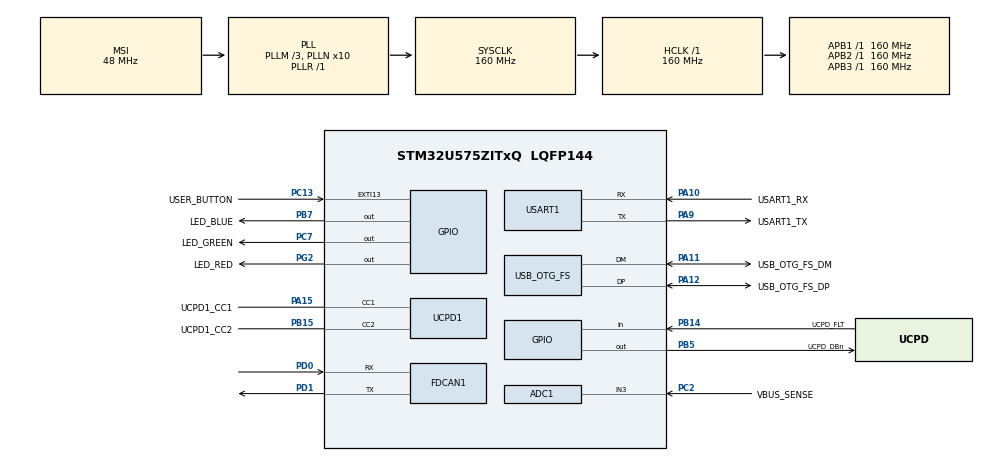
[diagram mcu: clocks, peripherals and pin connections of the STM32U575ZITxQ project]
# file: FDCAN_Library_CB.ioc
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ADC1.NbrOfConversion=1
ADC1.Resolution=ADC_RESOLUTION_14B
ADC1.master=1
CORTEX_M33_NS.userName=CORTEX_M33
FDCAN1.AutoRetransmission=ENABLE
FDCAN1.CalculateBaudRateNominal=500000
FDCAN1.CalculateTimeBitNominal=2000
FDCAN1.CalculateTimeQuantumNominal=100.0
FDCAN1.DataPrescaler=1
FDCAN1.DataSyncJumpWidth=16
FDCAN1.DataTimeSeg1=23
FDCAN1.DataTimeSeg2=16
FDCAN1.ExtFiltersNbr=1
FDCAN1.FrameFormat=FDCAN_FRAME_FD_BRS
FDCAN1.NominalPrescaler=4
FDCAN1.NominalSyncJumpWidth=3
FDCAN1.NominalTimeSeg1=16
FDCAN1.NominalTimeSeg2=3
FDCAN1.StdFiltersNbr=1
Mcu.Family=STM32U5
Mcu.Name=STM32U575ZITxQ
Mcu.Package=LQFP144
NVIC.FDCAN1_IT0_IRQn=true\:0\:0\:false\:false\:true\:true\:true\:true
NVIC.OTG_FS_IRQn=true\:0\:0\:false\:false\:true\:true\:true\:true
NVIC.PriorityGroup=NVIC_PRIORITYGROUP_3
NVIC.TIM7_IRQn=true\:0\:0\:false\:false\:true\:true\:true\:true
PA10.GPIO_Label=USART1_RX
PA10.GPIO_PuPd=GPIO_PULLDOWN
PA10.GPIO_Speed=GPIO_SPEED_FREQ_VERY_HIGH
PA10.Mode=Asynchronous
PA10.Signal=USART1_RX
PA11.GPIO_Label=USB_OTG_FS_DM
PA11.GPIO_Speed=GPIO_SPEED_FREQ_VERY_HIGH
PA11.Mode=Device_Only
PA11.Signal=USB_OTG_FS_DM
PA12.GPIO_Label=USB_OTG_FS_DP
PA12.GPIO_Speed=GPIO_SPEED_FREQ_VERY_HIGH
PA12.Mode=Device_Only
PA12.Signal=USB_OTG_FS_DP
PA13\ (JTMS/SWDIO).Mode=Trace_Asynchronous_SW
PA13\ (JTMS/SWDIO).Signal=DEBUG_JTMS-SWDIO
PA14\ (JTCK/SWCLK).Mode=Trace_Asynchronous_SW
PA14\ (JTCK/SWCLK).Signal=DEBUG_JTCK-SWCLK
PA15\ (JTDI).GPIO_Label=UCPD1_CC1
PA15\ (JTDI).Mode=Sink_AllSignals
PA15\ (JTDI).Signal=UCPD1_CC1
PA9.GPIO_Label=USART1_TX
PA9.GPIO_PuPd=GPIO_PULLDOWN
PA9.GPIO_Speed=GPIO_SPEED_FREQ_VERY_HIGH
PA9.Mode=Asynchronous
PA9.Signal=USART1_TX
PB14.GPIO_Label=UCPD_FLT
PB14.PinAttribute=Free
PB14.Signal=GPIO_Input
PB15.GPIO_Label=UCPD1_CC2
PB15.Mode=Sink_AllSignals
PB15.Signal=UCPD1_CC2
PB3\ (JTDO/TRACESWO).Mode=Trace_Asynchronous_SW
PB3\ (JTDO/TRACESWO).Signal=DEBUG_JTDO-SWO
PB5.GPIO_Label=UCPD_DBn
PB5.Signal=GPIO_Output
PB7.GPIO_Label=LED_BLUE
PB7.GPIO_ModeDefaultOutputPP=GPIO_MODE_OUTPUT_PP
PB7.GPIO_PuPd=GPIO_PULLUP
PB7.GPIO_Speed=GPIO_SPEED_FREQ_HIGH
PB7.Signal=GPIO_Output
PC13.GPIO_Label=USER_BUTTON
PC13.GPIO_ModeDefaultEXTI=GPIO_MODE_IT_FALLING
PC13.PinAttribute=Free
PC13.Signal=GPXTI13
PC14-OSC32_IN\ (PC14).Mode=LSE-External-Oscillator
PC14-OSC32_IN\ (PC14).Signal=RCC_OSC32_IN
PC15-OSC32_OUT\ (PC15).Mode=LSE-External-Oscillator
PC15-OSC32_OUT\ (PC15).Signal=RCC_OSC32_OUT
PC2.GPIO_Label=VBUS_SENSE
PC2.Mode=IN3-Single-Ended
PC2.Signal=ADC1_IN3
PC7.GPIO_Label=LED_GREEN
PC7.GPIO_PuPd=GPIO_PULLUP
PC7.GPIO_Speed=GPIO_SPEED_FREQ_HIGH
PC7.Signal=GPIO_Output
PD0.Mode=FDCAN_Activate
PD0.Signal=FDCAN1_RX
PD1.Mode=FDCAN_Activate
PD1.Signal=FDCAN1_TX
PG2.GPIO_Label=LED_RED
PG2.GPIO_ModeDefaultOutputPP=GPIO_MODE_OUTPUT_PP
PG2.GPIO_PuPd=GPIO_PULLUP
PG2.GPIO_Speed=GPIO_SPEED_FREQ_HIGH
PG2.Signal=GPIO_Output
PWR.PowerMode=PWR_SMPS_SUPPLY
ProjectManager.HeapSize=0x200
ProjectManager.StackSize=0x400
ProjectManager.TargetToolchain=STM32CubeIDE
RCC.ADCFreq_Value=16000000
RCC.AHBFreq_Value=160000000
RCC.APB1Freq_Value=160000000
RCC.APB1TimFreq_Value=160000000
RCC.APB2Freq_Value=160000000
RCC.APB2TimFreq_Value=160000000
RCC.APB3Freq_Value=160000000
RCC.CortexFreq_Value=160000000
RCC.DACCLockSelectionVirtual=RCC_DAC1CLKSOURCE_LSI
RCC.EPOD_VALUE=48000000
RCC.HCLKFreq_Value=160000000
RCC.HSE_VALUE=16000000
RCC.HSI48_VALUE=48000000
RCC.HSI_VALUE=16000000
RCC.LSIDIV_VALUE=32000
RCC.MSIClockRange=RCC_MSIRANGE_0
RCC.MSI_VALUE=48000000
RCC.PLL1Q=4
RCC.PLL1R=1
RCC.PLL2FRACN=0
RCC.PLL3FRACN=0
RCC.PLLFRACN=0
RCC.PLLM=3
RCC.PLLN=10
RCC.SDMMCClockSelection=RCC_SDMMCCLKSOURCE_PLL1
RCC.SYSCLKFreq_VALUE=160000000
RCC.SYSCLKSource=RCC_SYSCLKSOURCE_PLLCLK
RCC.USBFreq_Value=48000000
RCC.VCOOutputFreq_Value=160000000
TIM7.AutoReloadPreload=TIM_AUTORELOAD_PRELOAD_ENABLE
TIM7.PeriodNoDither=49999
TIM7.Prescaler=31999
USART1.VirtualMode-Asynchronous=VM_ASYNC
USB_OTG_FS.VirtualMode=Device_Only
VP_ICACHE_VS_ENABLE_ICACHE_MEMORY.Mode=Memoryregions
VP_ICACHE_VS_ICACHE.Mode=DirectMappedCache
VP_LPBAMQUEUE_VS_QUEUE.Mode=QUEUEMODE
VP_LPBAM_VS_SIG1.Mode=SmartRun
VP_LPBAM_VS_SIG4.Mode=LPDMA1
VP_MEMORYMAP_VS_MEMORYMAP.Mode=CurAppReg
VP_PWR_VS_DBSignals.Mode=DisableDeadBatterySignals
VP_PWR_VS_LPOM.Mode=PowerOptimisation
VP_PWR_VS_SECSignals.Mode=Security/Privilege
VP_PWR_Vdda.Mode=isolationVdda
VP_TIM7_VS_ClockSourceINT.Mode=Enable_Timer
board=NUCLEO-U575ZI-Q

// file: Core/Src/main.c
/* USER CODE BEGIN Header */
/**
  ******************************************************************************
  * @file           : main.c
  * @brief          : Main program body
  ******************************************************************************
  * @attention
  *
  * Copyright (c) 2025 STMicroelectronics.
  * All rights reserved.
  *
  * This software is licensed under terms that can be found in the LICENSE file
  * in the root directory of this software component.
  * If no LICENSE file comes with this software, it is provided AS-IS.
  *
  ******************************************************************************
  */
/* USER CODE END Header */
#include "main.h"

/* USER CODE BEGIN Includes */
#include "can.h"
#include <stdlib.h>
#include <string.h>
#include <stdio.h>
#include <time.h>
/* USER CODE END Includes */

ADC_HandleTypeDef hadc1;

FDCAN_HandleTypeDef hfdcan1;

TIM_HandleTypeDef htim7;

UART_HandleTypeDef huart1;

PCD_HandleTypeDef hpcd_USB_OTG_FS;

void SystemClock_Config(void);
static void SystemPower_Config(void);
static void MX_GPIO_Init(void);
static void MX_ADC1_Init(void);
static void MX_ICACHE_Init(void);
static void MX_UCPD1_Init(void);
static void MX_USART1_UART_Init(void);
static void MX_USB_OTG_FS_PCD_Init(void);
static void MX_FDCAN1_Init(void);
static void MX_TIM7_Init(void);
/* USER CODE BEGIN PFP */
#ifdef __GNUC__
/* With GCC/RAISONANCE, small printf (option LD Linker->Libraries->Small printf
   set to 'Yes') calls __io_putchar() */
#define PUTCHAR_PROTOTYPE int __io_putchar(int ch)
#else
#define PUTCHAR_PROTOTYPE int fputc(int ch, FILE *f)
#endif /* __GNUC__ */
/* USER CODE END PFP */

int main(void)
{

  /* MCU Configuration--------------------------------------------------------*/

  /* Reset of all peripherals, Initializes the Flash interface and the Systick. */
  HAL_Init();

  /* Configure the System Power */
  SystemPower_Config();

  /* Configure the system clock */
  SystemClock_Config();

  /* Initialize all configured peripherals */
  MX_GPIO_Init();
  MX_ADC1_Init();
  MX_ICACHE_Init();
  MX_UCPD1_Init();
  MX_USART1_UART_Init();
  MX_USB_OTG_FS_PCD_Init();
  MX_FDCAN1_Init();
  MX_TIM7_Init();
  /* USER CODE BEGIN 2 */
  CAN_Init(&hfdcan1, 0x130);
  srand(time(NULL));
  int tx_cnt = 0, rx_cnt = 0, hb0_cnt = 0, hb3_cnt = 0;
  uint32_t last_hb0 = 0, last_hb3 = 0;
  /* USER CODE END 2 */

  /* Infinite loop */
  /* USER CODE BEGIN WHILE */
  while (1)
  {

	/* Transmitting board (random delay + data) */
//	uint8_t TxData1[64];
//
//	for (int i = 0; i < 100; i++) {
//		for (uint8_t i = 0; i < 64; i++) {
//			TxData1[i] = (rand() % (255)) + 1;
//		}
//		if (CAN_Transmit(0x111, FDCAN_STANDARD_ID, FDCAN_DLC_BYTES_64, TxData1, &hfdcan1) != HAL_OK) {
//		   HAL_GPIO_WritePin(GPIOB, GPIO_PIN_7, GPIO_PIN_SET);
//		   Error_Handler();
//		}
//		tx_cnt++;
//		HAL_Delay((rand() % (500)) + 1);
//	}
//	if (tx_cnt % 500) printf("Total Tx Messages sent: %d\r\n", tx_cnt);

	/* Receiving */
	CAN_Frame RxData;
	if (CAN_Receive(&RxData) != HAL_OK) continue;

	rx_cnt++;
	uint32_t id  = RxData.RxData1_Identifier;
	uint8_t  len = RxData.RxData1_BufferLength;
	uint8_t localRxbuffer[64];
	for (int i = 0; i < len; i++) {
	    localRxbuffer[i] = RxData.RxData1[i];
	}
	//hb: recive both heartbeats. if the time from prev hb is > 15sec, print
	uint32_t now = HAL_GetTick();
	if (id == 0x130 || id == 0x133) {
		if (id == 0x130) {
			uint32_t diff0 = now - last_hb0;
			last_hb0 = now;
			hb0_cnt++;
			printf("Total hb for ID: 0x%04lX is %d, time_since_last = %lu ms\r\n", id, hb0_cnt, diff0);
			if (diff0 >= 15000) {
				printf("WARNING: No hb from 0x130 for %lu ms\r\n", diff0);
				HAL_GPIO_WritePin(GPIOB, GPIO_PIN_7, GPIO_PIN_SET);
			}
		} else {
			uint32_t diff3 = now - last_hb3;
			last_hb3 = now;
			hb3_cnt++;
			printf("Total hb for ID: 0x%04lX is %d, time_since_last = %lu ms\r\n", id, hb3_cnt, diff3);
			if (diff3 >= 15000) {
				printf("WARNING: No hb from 0x133 for %lu ms\r\n", diff3);
				HAL_GPIO_WritePin(GPIOB, GPIO_PIN_7, GPIO_PIN_SET);
			}
		}
	}
	if (rx_cnt % 500 == 0) printf("Msg #: %d; ID: 0x%04lX; len: %u\r\n", rx_cnt, id, len);

    /* USER CODE END WHILE */

  }
}

void SystemClock_Config(void)
{
  RCC_OscInitTypeDef RCC_OscInitStruct = {0};
  RCC_ClkInitTypeDef RCC_ClkInitStruct = {0};

  /** Configure the main internal regulator output voltage
  */
  if (HAL_PWREx_ControlVoltageScaling(PWR_REGULATOR_VOLTAGE_SCALE1) != HAL_OK)
  {
    Error_Handler();
  }

  /** Initializes the CPU, AHB and APB buses clocks
  */
  RCC_OscInitStruct.OscillatorType = RCC_OSCILLATORTYPE_HSI48|RCC_OSCILLATORTYPE_HSI
                              |RCC_OSCILLATORTYPE_MSI;
  RCC_OscInitStruct.HSIState = RCC_HSI_ON;
  RCC_OscInitStruct.HSI48State = RCC_HSI48_ON;
  RCC_OscInitStruct.HSICalibrationValue = RCC_HSICALIBRATION_DEFAULT;
  RCC_OscInitStruct.MSIState = RCC_MSI_ON;
  RCC_OscInitStruct.MSICalibrationValue = RCC_MSICALIBRATION_DEFAULT;
  RCC_OscInitStruct.MSIClockRange = RCC_MSIRANGE_0;
  RCC_OscInitStruct.PLL.PLLState = RCC_PLL_ON;
  RCC_OscInitStruct.PLL.PLLSource = RCC_PLLSOURCE_MSI;
  RCC_OscInitStruct.PLL.PLLMBOOST = RCC_PLLMBOOST_DIV4;
  RCC_OscInitStruct.PLL.PLLM = 3;
  RCC_OscInitStruct.PLL.PLLN = 10;
  RCC_OscInitStruct.PLL.PLLP = 2;
  RCC_OscInitStruct.PLL.PLLQ = 4;
  RCC_OscInitStruct.PLL.PLLR = 1;
  RCC_OscInitStruct.PLL.PLLRGE = RCC_PLLVCIRANGE_1;
  RCC_OscInitStruct.PLL.PLLFRACN = 0;
  if (HAL_RCC_OscConfig(&RCC_OscInitStruct) != HAL_OK)
  {
    Error_Handler();
  }

  /** Initializes the CPU, AHB and APB buses clocks
  */
  RCC_ClkInitStruct.ClockType = RCC_CLOCKTYPE_HCLK|RCC_CLOCKTYPE_SYSCLK
                              |RCC_CLOCKTYPE_PCLK1|RCC_CLOCKTYPE_PCLK2
                              |RCC_CLOCKTYPE_PCLK3;
  RCC_ClkInitStruct.SYSCLKSource = RCC_SYSCLKSOURCE_PLLCLK;
  RCC_ClkInitStruct.AHBCLKDivider = RCC_SYSCLK_DIV1;
  RCC_ClkInitStruct.APB1CLKDivider = RCC_HCLK_DIV1;
  RCC_ClkInitStruct.APB2CLKDivider = RCC_HCLK_DIV1;
  RCC_ClkInitStruct.APB3CLKDivider = RCC_HCLK_DIV1;

  if (HAL_RCC_ClockConfig(&RCC_ClkInitStruct, FLASH_LATENCY_4) != HAL_OK)
  {
    Error_Handler();
  }
}

/**
  * @brief Power Configuration
  * @retval None
  */
static void SystemPower_Config(void)
{
  HAL_PWREx_EnableVddIO2();

  /*
   * Switch to SMPS regulator instead of LDO
   */
  if (HAL_PWREx_ConfigSupply(PWR_SMPS_SUPPLY) != HAL_OK)
  {
    Error_Handler();
  }
}

static void MX_ADC1_Init(void)
{

  /** Common config
  */
  hadc1.Instance = ADC1;
  hadc1.Init.ClockPrescaler = ADC_CLOCK_ASYNC_DIV1;
  hadc1.Init.Resolution = ADC_RESOLUTION_14B;
  hadc1.Init.GainCompensation = 0;
  hadc1.Init.ScanConvMode = ADC_SCAN_DISABLE;
  hadc1.Init.EOCSelection = ADC_EOC_SINGLE_CONV;
  hadc1.Init.LowPowerAutoWait = DISABLE;
  hadc1.Init.ContinuousConvMode = DISABLE;
  hadc1.Init.NbrOfConversion = 1;
  hadc1.Init.DiscontinuousConvMode = DISABLE;
  hadc1.Init.DMAContinuousRequests = DISABLE;
  hadc1.Init.TriggerFrequencyMode = ADC_TRIGGER_FREQ_HIGH;
  hadc1.Init.Overrun = ADC_OVR_DATA_PRESERVED;
  hadc1.Init.LeftBitShift = ADC_LEFTBITSHIFT_NONE;
  hadc1.Init.ConversionDataManagement = ADC_CONVERSIONDATA_DR;
  hadc1.Init.OversamplingMode = DISABLE;
  if (HAL_ADC_Init(&hadc1) != HAL_OK)
  {
    Error_Handler();
  }

}

static void MX_FDCAN1_Init(void)
{

  hfdcan1.Instance = FDCAN1;
  hfdcan1.Init.ClockDivider = FDCAN_CLOCK_DIV1;
  hfdcan1.Init.FrameFormat = FDCAN_FRAME_FD_BRS;
  hfdcan1.Init.Mode = FDCAN_MODE_NORMAL;
  hfdcan1.Init.AutoRetransmission = ENABLE;
  hfdcan1.Init.TransmitPause = DISABLE;
  hfdcan1.Init.ProtocolException = DISABLE;
  hfdcan1.Init.NominalPrescaler = 4;
  hfdcan1.Init.NominalSyncJumpWidth = 3;
  hfdcan1.Init.NominalTimeSeg1 = 16;
  hfdcan1.Init.NominalTimeSeg2 = 3;
  hfdcan1.Init.DataPrescaler = 1;
  hfdcan1.Init.DataSyncJumpWidth = 16;
  hfdcan1.Init.DataTimeSeg1 = 23;
  hfdcan1.Init.DataTimeSeg2 = 16;
  hfdcan1.Init.StdFiltersNbr = 1;
  hfdcan1.Init.ExtFiltersNbr = 1;
  hfdcan1.Init.TxFifoQueueMode = FDCAN_TX_FIFO_OPERATION;
  if (HAL_FDCAN_Init(&hfdcan1) != HAL_OK)
  {
    Error_Handler();
  }

}

static void MX_ICACHE_Init(void)
{

  /** Enable instruction cache in 1-way (direct mapped cache)
  */
  if (HAL_ICACHE_ConfigAssociativityMode(ICACHE_1WAY) != HAL_OK)
  {
    Error_Handler();
  }
  if (HAL_ICACHE_Enable() != HAL_OK)
  {
    Error_Handler();
  }

}

static void MX_TIM7_Init(void)
{

  TIM_MasterConfigTypeDef sMasterConfig = {0};

  htim7.Instance = TIM7;
  htim7.Init.Prescaler = 31999;
  htim7.Init.CounterMode = TIM_COUNTERMODE_UP;
  htim7.Init.Period = 49999;
  htim7.Init.AutoReloadPreload = TIM_AUTORELOAD_PRELOAD_ENABLE;
  if (HAL_TIM_Base_Init(&htim7) != HAL_OK)
  {
    Error_Handler();
  }
  sMasterConfig.MasterOutputTrigger = TIM_TRGO_RESET;
  sMasterConfig.MasterSlaveMode = TIM_MASTERSLAVEMODE_DISABLE;
  if (HAL_TIMEx_MasterConfigSynchronization(&htim7, &sMasterConfig) != HAL_OK)
  {
    Error_Handler();
  }

}

static void MX_UCPD1_Init(void)
{

  LL_GPIO_InitTypeDef GPIO_InitStruct = {0};

  /* Peripheral clock enable */
  LL_APB1_GRP2_EnableClock(LL_APB1_GRP2_PERIPH_UCPD1);

  LL_AHB2_GRP1_EnableClock(LL_AHB2_GRP1_PERIPH_GPIOB);
  LL_AHB2_GRP1_EnableClock(LL_AHB2_GRP1_PERIPH_GPIOA);
  /**UCPD1 GPIO Configuration
  PB15   ------> UCPD1_CC2
  PA15 (JTDI)   ------> UCPD1_CC1
  */
  GPIO_InitStruct.Pin = LL_GPIO_PIN_15;
  GPIO_InitStruct.Mode = LL_GPIO_MODE_ANALOG;
  GPIO_InitStruct.Pull = LL_GPIO_PULL_NO;
  LL_GPIO_Init(GPIOB, &GPIO_InitStruct);

  GPIO_InitStruct.Pin = LL_GPIO_PIN_15;
  GPIO_InitStruct.Mode = LL_GPIO_MODE_ANALOG;
  GPIO_InitStruct.Pull = LL_GPIO_PULL_NO;
  LL_GPIO_Init(GPIOA, &GPIO_InitStruct);

}

static void MX_USART1_UART_Init(void)
{

  huart1.Instance = USART1;
  huart1.Init.BaudRate = 115200;
  huart1.Init.WordLength = UART_WORDLENGTH_8B;
  huart1.Init.StopBits = UART_STOPBITS_1;
  huart1.Init.Parity = UART_PARITY_NONE;
  huart1.Init.Mode = UART_MODE_TX_RX;
  huart1.Init.HwFlowCtl = UART_HWCONTROL_NONE;
  huart1.Init.OverSampling = UART_OVERSAMPLING_16;
  huart1.Init.OneBitSampling = UART_ONE_BIT_SAMPLE_DISABLE;
  huart1.Init.ClockPrescaler = UART_PRESCALER_DIV1;
  huart1.AdvancedInit.AdvFeatureInit = UART_ADVFEATURE_NO_INIT;
  if (HAL_UART_Init(&huart1) != HAL_OK)
  {
    Error_Handler();
  }
  if (HAL_UARTEx_SetTxFifoThreshold(&huart1, UART_TXFIFO_THRESHOLD_1_8) != HAL_OK)
  {
    Error_Handler();
  }
  if (HAL_UARTEx_SetRxFifoThreshold(&huart1, UART_RXFIFO_THRESHOLD_1_8) != HAL_OK)
  {
    Error_Handler();
  }
  if (HAL_UARTEx_DisableFifoMode(&huart1) != HAL_OK)
  {
    Error_Handler();
  }

}

static void MX_USB_OTG_FS_PCD_Init(void)
{

  hpcd_USB_OTG_FS.Instance = USB_OTG_FS;
  hpcd_USB_OTG_FS.Init.dev_endpoints = 6;
  hpcd_USB_OTG_FS.Init.speed = PCD_SPEED_FULL;
  hpcd_USB_OTG_FS.Init.phy_itface = PCD_PHY_EMBEDDED;
  hpcd_USB_OTG_FS.Init.Sof_enable = DISABLE;
  hpcd_USB_OTG_FS.Init.low_power_enable = DISABLE;
  hpcd_USB_OTG_FS.Init.lpm_enable = DISABLE;
  hpcd_USB_OTG_FS.Init.battery_charging_enable = DISABLE;
  hpcd_USB_OTG_FS.Init.use_dedicated_ep1 = DISABLE;
  hpcd_USB_OTG_FS.Init.vbus_sensing_enable = DISABLE;
  hpcd_USB_OTG_FS.Init.dma_enable = DISABLE;
  if (HAL_PCD_Init(&hpcd_USB_OTG_FS) != HAL_OK)
  {
    Error_Handler();
  }

}

static void MX_GPIO_Init(void)
{
  GPIO_InitTypeDef GPIO_InitStruct = {0};

  /* GPIO Ports Clock Enable */
  __HAL_RCC_GPIOC_CLK_ENABLE();
  __HAL_RCC_GPIOB_CLK_ENABLE();
  __HAL_RCC_GPIOG_CLK_ENABLE();
  __HAL_RCC_GPIOA_CLK_ENABLE();
  __HAL_RCC_GPIOD_CLK_ENABLE();

  /*Configure GPIO pin Output Level */
  HAL_GPIO_WritePin(LED_RED_GPIO_Port, LED_RED_Pin, GPIO_PIN_RESET);

  /*Configure GPIO pin Output Level */
  HAL_GPIO_WritePin(LED_GREEN_GPIO_Port, LED_GREEN_Pin, GPIO_PIN_RESET);

  /*Configure GPIO pin Output Level */
  HAL_GPIO_WritePin(GPIOB, UCPD_DBn_Pin|LED_BLUE_Pin, GPIO_PIN_RESET);

  /*Configure GPIO pin : USER_BUTTON_Pin */
  GPIO_InitStruct.Pin = USER_BUTTON_Pin;
  GPIO_InitStruct.Mode = GPIO_MODE_IT_FALLING;
  GPIO_InitStruct.Pull = GPIO_NOPULL;
  HAL_GPIO_Init(USER_BUTTON_GPIO_Port, &GPIO_InitStruct);

  /*Configure GPIO pin : UCPD_FLT_Pin */
  GPIO_InitStruct.Pin = UCPD_FLT_Pin;
  GPIO_InitStruct.Mode = GPIO_MODE_INPUT;
  GPIO_InitStruct.Pull = GPIO_NOPULL;
  HAL_GPIO_Init(UCPD_FLT_GPIO_Port, &GPIO_InitStruct);

  /*Configure GPIO pin : LED_RED_Pin */
  GPIO_InitStruct.Pin = LED_RED_Pin;
  GPIO_InitStruct.Mode = GPIO_MODE_OUTPUT_PP;
  GPIO_InitStruct.Pull = GPIO_PULLUP;
  GPIO_InitStruct.Speed = GPIO_SPEED_FREQ_HIGH;
  HAL_GPIO_Init(LED_RED_GPIO_Port, &GPIO_InitStruct);

  /*Configure GPIO pin : LED_GREEN_Pin */
  GPIO_InitStruct.Pin = LED_GREEN_Pin;
  GPIO_InitStruct.Mode = GPIO_MODE_OUTPUT_PP;
  GPIO_InitStruct.Pull = GPIO_PULLUP;
  GPIO_InitStruct.Speed = GPIO_SPEED_FREQ_HIGH;
  HAL_GPIO_Init(LED_GREEN_GPIO_Port, &GPIO_InitStruct);

  /*Configure GPIO pin : UCPD_DBn_Pin */
  GPIO_InitStruct.Pin = UCPD_DBn_Pin;
  GPIO_InitStruct.Mode = GPIO_MODE_OUTPUT_PP;
  GPIO_InitStruct.Pull = GPIO_NOPULL;
  GPIO_InitStruct.Speed = GPIO_SPEED_FREQ_LOW;
  HAL_GPIO_Init(UCPD_DBn_GPIO_Port, &GPIO_InitStruct);

  /*Configure GPIO pin : LED_BLUE_Pin */
  GPIO_InitStruct.Pin = LED_BLUE_Pin;
  GPIO_InitStruct.Mode = GPIO_MODE_OUTPUT_PP;
  GPIO_InitStruct.Pull = GPIO_PULLUP;
  GPIO_InitStruct.Speed = GPIO_SPEED_FREQ_HIGH;
  HAL_GPIO_Init(LED_BLUE_GPIO_Port, &GPIO_InitStruct);

}

/* USER CODE BEGIN 4 */
#include <sys/time.h>
int _gettimeofday(struct timeval *tv, void *tzvp)
{
    return -1;   // No real-time clock, so just fail cleanly
}

PUTCHAR_PROTOTYPE
{
  /* Place your implementation of fputc here */
  /* e.g. write a character to the USART1 and Loop until the end of transmission */
  HAL_UART_Transmit(&huart1, (uint8_t *)&ch, 1, 0xFFFF);

  return ch;
}
void HAL_FDCAN_ErrorCallback(FDCAN_HandleTypeDef *hfdcan) {
	uint32_t err = HAL_FDCAN_GetError(hfdcan);
	if (err & HAL_FDCAN_ERROR_TIMEOUT)         printf("Timeout\n");
	if (err & HAL_FDCAN_ERROR_NOT_INITIALIZED) printf("Not initialized\n");
	if (err & HAL_FDCAN_ERROR_NOT_READY)       printf("Not ready\n");
	if (err & HAL_FDCAN_ERROR_NOT_STARTED)     printf("Not started\n");
	if (err & HAL_FDCAN_ERROR_NOT_SUPPORTED)   printf("Not supported\n");
	if (err & HAL_FDCAN_ERROR_PARAM)           printf("Parameter error\n");
	if (err & HAL_FDCAN_ERROR_PENDING)         printf("Pending operation\n");
	if (err & HAL_FDCAN_ERROR_RAM_ACCESS)      printf("Message RAM access failure\n");
	if (err & HAL_FDCAN_ERROR_FIFO_EMPTY)      printf("FIFO empty\n");
	if (err & HAL_FDCAN_ERROR_FIFO_FULL)       printf("FIFO full\n");
	if (err & HAL_FDCAN_ERROR_LOG_OVERFLOW)    printf("Error log overflow\n");
	if (err & HAL_FDCAN_ERROR_RAM_WDG)         printf("RAM watchdog\n");
	if (err & HAL_FDCAN_ERROR_PROTOCOL_ARBT)   printf("Protocol error (arbitration phase)\n");
	if (err & HAL_FDCAN_ERROR_PROTOCOL_DATA)   printf("Protocol error (data phase)\n");
	if (err & HAL_FDCAN_ERROR_RESERVED_AREA)   printf("Reserved address access\n");
}
/* USER CODE END 4 */

void Error_Handler(void)
{
  __disable_irq();
  while (1)
  {
  }
}
